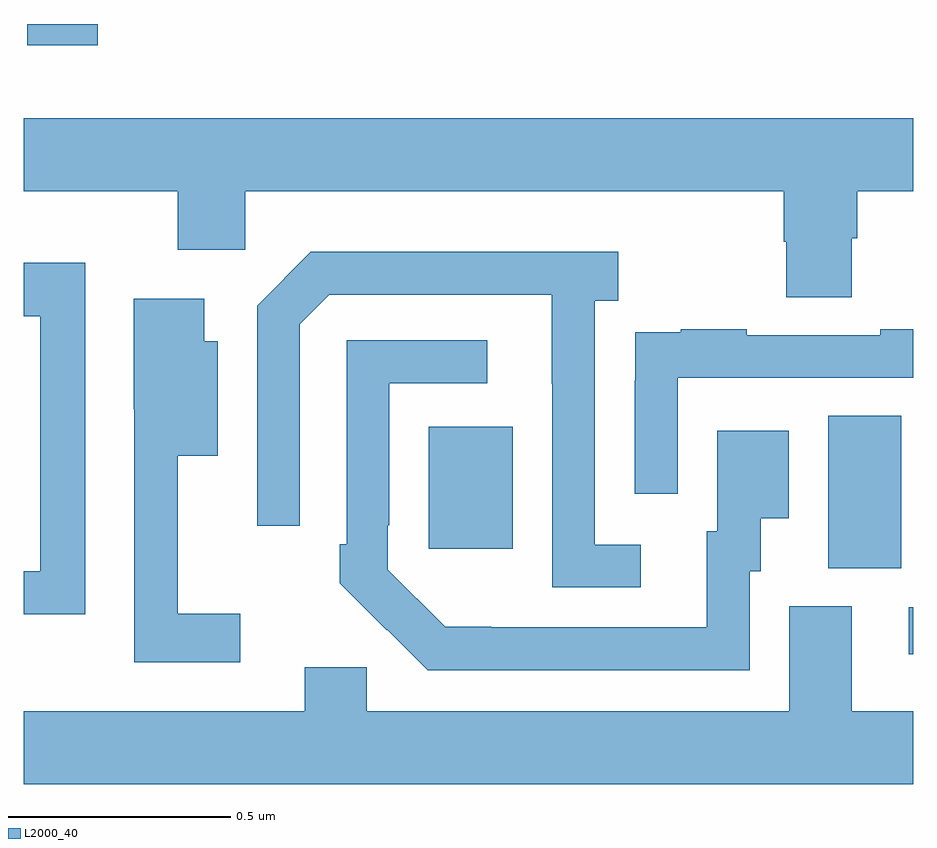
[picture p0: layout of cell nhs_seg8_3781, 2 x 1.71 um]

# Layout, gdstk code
import gdstk
lib = gdstk.Library(unit=1e-6, precision=1e-09)
def R(c, l, rs):  # rectangles x0, y0, x1, y1
    for r in rs: c.add(gdstk.rectangle(r[:2], r[2:], *l))
def P(c, l, *ps):  # polygons
    for p in ps: c.add(gdstk.Polygon(p, *l))
L2000_40 = (2000, 40)

nhs_seg8_3781 = lib.new_cell('nhs_seg8_3781')
R(nhs_seg8_3781, L2000_40, [(163.989,1091.484,164,1091.589), (163.808,1091.677,163.972,1092.02), (162.911,1091.721,163.099,1091.995), (162.008,1092.852,162.167,1092.9)])
P(nhs_seg8_3781, L2000_40, [(163.861,1092.418),(163.874,1092.418),(163.874,1092.524),(164,1092.524),(164,1092.688),(162,1092.688),(162,1092.524),(162.347,1092.524),(162.347,1092.393),(162.498,1092.393),(162.498,1092.524),(163.709,1092.524),(163.709,1092.411),(163.714,1092.411),(163.714,1092.286),(163.861,1092.286)],
  [(163.387,1091.73),(163.284,1091.73),(163.284,1092.278),(163.336,1092.278),(163.336,1092.388),(162.646,1092.388),(162.525,1092.267),(162.525,1091.772),(162.621,1091.772),(162.621,1092.225),(162.687,1092.291),(163.187,1092.291),(163.187,1092.091),(163.188,1092.091),(163.188,1091.634),(163.387,1091.634)],
  [(162.139,1092.364),(162,1092.364),(162,1092.243),(162.038,1092.243),(162.038,1091.67),(162,1091.67),(162,1091.573),(162.139,1091.573)],
  [(162.487,1091.575),(162.347,1091.575),(162.347,1091.93),(162.436,1091.93),(162.436,1092.187),(162.406,1092.187),(162.406,1092.283),(162.248,1092.283),(162.248,1092.034),(162.249,1092.034),(162.249,1091.466),(162.487,1091.466)],
  [(163.47,1092.105),(164,1092.105),(164,1092.214),(163.925,1092.214),(163.925,1092.201),(163.625,1092.201),(163.625,1092.214),(163.477,1092.214),(163.477,1092.207),(163.375,1092.207),(163.375,1092.098),(163.374,1092.098),(163.374,1091.844),(163.47,1091.844)],
  [(163.632,1091.67),(163.657,1091.67),(163.657,1091.789),(163.72,1091.789),(163.72,1091.986),(163.559,1091.986),(163.559,1091.76),(163.535,1091.76),(163.535,1091.544),(163.051,1091.544),(163.051,1091.545),(162.948,1091.545),(162.819,1091.673),(162.819,1091.773),(162.822,1091.773),(162.822,1092.093),(163.042,1092.093),(163.042,1092.189),(162.726,1092.189),(162.726,1091.731),(162.711,1091.731),(162.711,1091.643),(162.816,1091.538),(162.817,1091.539),(162.908,1091.448),(163.632,1091.448)],
  [(164,1091.356),(163.861,1091.356),(163.861,1091.592),(163.721,1091.592),(163.721,1091.356),(162.771,1091.356),(162.771,1091.454),(162.632,1091.454),(162.632,1091.356),(162,1091.356),(162,1091.192),(164,1091.192)])

lib.write_gds('nhs_seg8_3781.gds')
